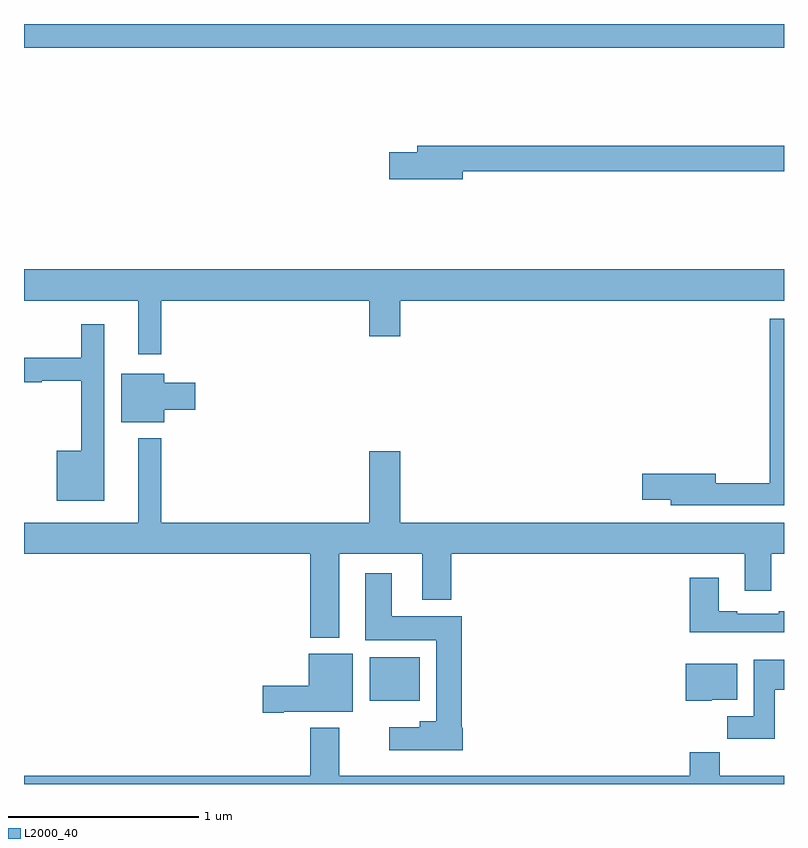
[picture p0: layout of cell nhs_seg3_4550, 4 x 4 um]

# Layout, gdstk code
import gdstk
lib = gdstk.Library(unit=1e-6, precision=1e-09)
def R(c, l, rs):  # rectangles x0, y0, x1, y1
    for r in rs: c.add(gdstk.rectangle(r[:2], r[2:], *l))
def P(c, l, *ps):  # polygons
    for p in ps: c.add(gdstk.Polygon(p, *l))
L2000_40 = (2000, 40)

nhs_seg3_4550 = lib.new_cell('nhs_seg3_4550')
R(nhs_seg3_4550, L2000_40, [(356.819,670.838,357.082,671.068), (355,674.276,359,674.4)])
P(nhs_seg3_4550, L2000_40, [(357.31,673.624),(359,673.624),(359,673.76),(357.071,673.76),(357.071,673.724),(356.922,673.724),(356.922,673.582),(357.31,673.582)],
  [(355.723,672.944),(356.816,672.944),(356.816,672.756),(356.98,672.756),(356.98,672.944),(359,672.944),(359,673.108),(355,673.108),(355,672.944),(355.601,672.944),(355.601,672.663),(355.723,672.663)],
  [(359,672.849),(358.924,672.849),(358.924,671.984),(358.642,671.984),(358.642,672.032),(358.254,672.032),(358.254,671.897),(358.403,671.897),(358.403,671.868),(359,671.868)],
  [(355.423,672.82),(355.302,672.82),(355.302,672.643),(355,672.643),(355,672.514),(355.094,672.514),(355.094,672.522),(355.302,672.522),(355.302,672.154),(355.172,672.154),(355.172,671.891),(355.423,671.891)],
  [(355.738,672.371),(355.9,672.371),(355.9,672.513),(355.738,672.513),(355.738,672.559),(355.511,672.559),(355.511,672.305),(355.738,672.305)],
  [(356.659,671.612),(357.095,671.612),(357.095,671.369),(357.248,671.369),(357.248,671.612),(358.793,671.612),(358.793,671.418),(358.933,671.418),(358.933,671.612),(359,671.612),(359,671.776),(356.98,671.776),(356.98,672.151),(356.816,672.151),(356.816,671.776),(355.723,671.776),(355.723,672.22),(355.601,672.22),(355.601,671.776),(355,671.776),(355,671.612),(356.507,671.612),(356.507,671.171),(356.659,671.171)],
  [(357.31,670.695),(357.305,670.695),(357.305,671.284),(356.935,671.284),(356.935,671.509),(356.795,671.509),(356.795,671.156),(357.17,671.156),(357.17,670.729),(357.083,670.729),(357.083,670.699),(356.922,670.699),(356.922,670.577),(357.31,670.577)],
  [(359,671.308),(358.973,671.308),(358.973,671.295),(358.753,671.295),(358.753,671.308),(358.657,671.308),(358.657,671.485),(358.505,671.485),(358.505,671.198),(359,671.198)],
  [(356.368,670.781),(356.731,670.781),(356.731,671.086),(356.498,671.086),(356.498,670.916),(356.256,670.916),(356.256,670.774),(356.368,670.774)],
  [(358.951,670.897),(359,670.897),(359,671.053),(358.841,671.053),(358.841,670.756),(358.702,670.756),(358.702,670.638),(358.951,670.638)],
  [(358.62,670.844),(358.753,670.844),(358.753,671.032),(358.484,671.032),(358.484,670.838),(358.62,670.838)],
  [(356.659,670.696),(356.507,670.696),(356.507,670.444),(355,670.444),(355,670.4),(359,670.4),(359,670.444),(358.661,670.444),(358.661,670.568),(358.505,670.568),(358.505,670.444),(356.659,670.444)])

lib.write_gds('nhs_seg3_4550.gds')
